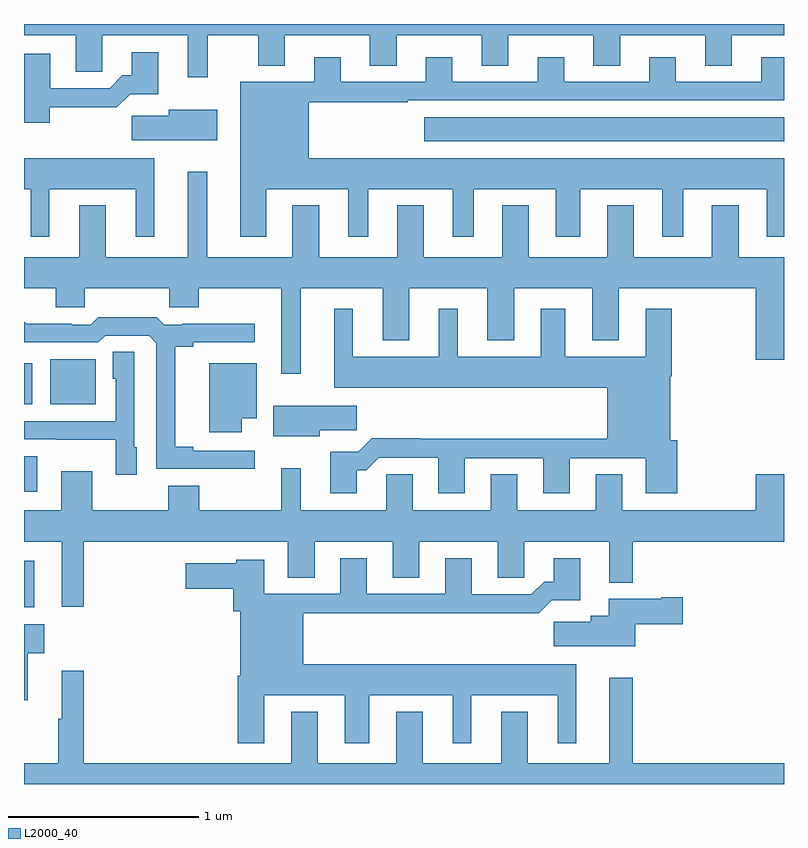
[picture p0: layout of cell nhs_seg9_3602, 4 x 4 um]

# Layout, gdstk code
import gdstk
lib = gdstk.Library(unit=1e-6, precision=1e-09)
def R(c, l, rs):  # rectangles x0, y0, x1, y1
    for r in rs: c.add(gdstk.rectangle(r[:2], r[2:], *l))
def P(c, l, *ps):  # polygons
    for p in ps: c.add(gdstk.Polygon(p, *l))
L2000_40 = (2000, 40)

nhs_seg9_3602 = lib.new_cell('nhs_seg9_3602')
R(nhs_seg9_3602, L2000_40, [(317,1173.431,317.053,1173.676), (317,1174.038,317.071,1174.224), (317,1174.499,317.044,1174.714), (317.138,1174.499,317.377,1174.735), (319.107,1175.882,321,1176.01)])
P(nhs_seg9_3602, L2000_40, [(317.968,1176.44),(318.233,1176.44),(318.233,1176.281),(318.373,1176.281),(318.373,1176.44),(318.821,1176.44),(318.821,1176.28),(318.961,1176.28),(318.961,1176.44),(319.409,1176.44),(319.409,1176.28),(319.549,1176.28),(319.549,1176.44),(319.997,1176.44),(319.997,1176.28),(320.137,1176.28),(320.137,1176.44),(320.585,1176.44),(320.585,1176.28),(320.725,1176.28),(320.725,1176.44),(321,1176.44),(321,1176.5),(317,1176.5),(317,1176.44),(317.273,1176.44),(317.273,1176.25),(317.412,1176.25),(317.412,1176.44),(317.861,1176.44),(317.861,1176.219),(317.968,1176.219)],
  [(317.136,1176.062),(317.489,1176.062),(317.558,1176.131),(317.707,1176.131),(317.707,1176.352),(317.567,1176.352),(317.567,1176.229),(317.518,1176.229),(317.451,1176.162),(317.137,1176.162),(317.137,1176.343),(317,1176.343),(317,1175.981),(317.136,1175.981)],
  [(318.274,1175.63),(318.707,1175.63),(318.707,1175.379),(318.811,1175.379),(318.811,1175.63),(319.256,1175.63),(319.256,1175.379),(319.366,1175.379),(319.366,1175.63),(319.799,1175.63),(319.799,1175.379),(319.927,1175.379),(319.927,1175.63),(320.36,1175.63),(320.36,1175.379),(320.47,1175.379),(320.47,1175.63),(320.909,1175.63),(320.909,1175.379),(321,1175.379),(321,1175.794),(318.499,1175.794),(318.499,1176.087),(319.019,1176.087),(319.019,1176.099),(321,1176.099),(321,1176.325),(320.879,1176.325),(320.879,1176.195),(320.431,1176.195),(320.431,1176.325),(320.291,1176.325),(320.291,1176.195),(319.843,1176.195),(319.843,1176.325),(319.703,1176.325),(319.703,1176.195),(319.255,1176.195),(319.255,1176.325),(319.115,1176.325),(319.115,1176.195),(318.667,1176.195),(318.667,1176.325),(318.527,1176.325),(318.527,1176.196),(318.137,1176.196),(318.137,1175.379),(318.274,1175.379)],
  [(318.016,1176.049),(317.762,1176.049),(317.762,1176.017),(317.568,1176.017),(317.568,1175.888),(318.016,1175.888)],
  [(317.134,1175.63),(317.588,1175.63),(317.588,1175.379),(317.686,1175.379),(317.686,1175.794),(317,1175.794),(317,1175.63),(317.036,1175.63),(317.036,1175.379),(317.134,1175.379)],
  [(317,1175.108),(317.168,1175.108),(317.168,1175.01),(317.319,1175.01),(317.319,1175.108),(317.764,1175.108),(317.764,1175.01),(317.919,1175.01),(317.919,1175.108),(318.353,1175.108),(318.353,1174.659),(318.457,1174.659),(318.457,1175.108),(318.887,1175.108),(318.887,1174.835),(319.027,1174.835),(319.027,1175.108),(319.439,1175.108),(319.439,1174.835),(319.579,1174.835),(319.579,1175.108),(319.991,1175.108),(319.991,1174.835),(320.131,1174.835),(320.131,1175.108),(320.852,1175.108),(320.852,1174.734),(321,1174.734),(321,1175.272),(320.761,1175.272),(320.761,1175.545),(320.621,1175.545),(320.621,1175.272),(320.209,1175.272),(320.209,1175.545),(320.069,1175.545),(320.069,1175.272),(319.657,1175.272),(319.657,1175.545),(319.517,1175.545),(319.517,1175.272),(319.105,1175.272),(319.105,1175.545),(318.965,1175.545),(318.965,1175.272),(318.553,1175.272),(318.553,1175.545),(318.413,1175.545),(318.413,1175.272),(317.965,1175.272),(317.965,1175.722),(317.861,1175.722),(317.861,1175.272),(317.431,1175.272),(317.431,1175.545),(317.291,1175.545),(317.291,1175.272),(317,1175.272)],
  [(318.751,1174.151),(318.8,1174.151),(318.867,1174.218),(319.181,1174.218),(319.181,1174.029),(319.321,1174.029),(319.321,1174.215),(319.733,1174.215),(319.733,1174.029),(319.873,1174.029),(319.873,1174.215),(320.273,1174.215),(320.273,1174.029),(320.438,1174.029),(320.438,1174.308),(320.401,1174.308),(320.401,1174.646),(320.409,1174.646),(320.409,1175.002),(320.273,1175.002),(320.273,1174.75),(319.849,1174.75),(319.849,1175.002),(319.721,1175.002),(319.721,1174.75),(319.282,1174.75),(319.282,1175.002),(319.184,1175.002),(319.184,1174.75),(318.73,1174.75),(318.73,1175.002),(318.632,1175.002),(318.632,1174.586),(320.069,1174.586),(320.069,1174.316),(319.085,1174.316),(319.085,1174.319),(318.83,1174.319),(318.76,1174.249),(318.611,1174.249),(318.611,1174.029),(318.751,1174.029)],
  [(318.214,1174.254),(317.89,1174.254),(317.89,1174.274),(317.795,1174.274),(317.795,1174.802),(317.89,1174.802),(317.89,1174.824),(318.214,1174.824),(318.214,1174.922),(317.833,1174.922),(317.833,1174.917),(317.739,1174.917),(317.699,1174.957),(317.392,1174.957),(317.352,1174.917),(317.252,1174.917),(317.252,1174.922),(317.012,1174.922),(317,1174.934),(317,1174.824),(317.391,1174.824),(317.427,1174.86),(317.658,1174.86),(317.697,1174.821),(317.697,1174.158),(318.214,1174.158)],
  [(317.593,1174.272),(317.58,1174.272),(317.58,1174.775),(317.468,1174.775),(317.468,1174.632),(317.484,1174.632),(317.484,1174.41),(317,1174.41),(317,1174.314),(317.167,1174.314),(317.167,1174.313),(317.484,1174.313),(317.484,1174.128),(317.593,1174.128)],
  [(318.145,1174.424),(318.226,1174.424),(318.226,1174.714),(317.975,1174.714),(317.975,1174.352),(318.145,1174.352)],
  [(318.556,1174.363),(318.751,1174.363),(318.751,1174.492),(318.312,1174.492),(318.312,1174.331),(318.556,1174.331)],
  [(317.315,1173.776),(318.389,1173.776),(318.389,1173.586),(318.529,1173.586),(318.529,1173.776),(318.941,1173.776),(318.941,1173.586),(319.081,1173.586),(319.081,1173.776),(319.493,1173.776),(319.493,1173.586),(319.632,1173.586),(319.632,1173.776),(320.081,1173.776),(320.081,1173.56),(320.203,1173.56),(320.203,1173.776),(321,1173.776),(321,1174.129),(320.852,1174.129),(320.852,1173.94),(320.149,1173.94),(320.149,1174.13),(320.009,1174.13),(320.009,1173.94),(319.597,1173.94),(319.597,1174.13),(319.457,1174.13),(319.457,1173.94),(319.045,1173.94),(319.045,1174.13),(318.906,1174.13),(318.906,1173.94),(318.457,1173.94),(318.457,1174.162),(318.353,1174.162),(318.353,1173.94),(317.923,1173.94),(317.923,1174.069),(317.759,1174.069),(317.759,1173.94),(317.359,1173.94),(317.359,1174.147),(317.195,1174.147),(317.195,1173.94),(317,1173.94),(317,1173.776),(317.198,1173.776),(317.198,1173.432),(317.315,1173.432)],
  [(318.265,1172.966),(318.689,1172.966),(318.689,1172.715),(318.817,1172.715),(318.817,1172.966),(319.256,1172.966),(319.256,1172.715),(319.354,1172.715),(319.354,1172.966),(319.808,1172.966),(319.808,1172.715),(319.906,1172.715),(319.906,1173.13),(318.469,1173.13),(318.469,1173.4),(319.453,1173.4),(319.453,1173.398),(319.709,1173.398),(319.778,1173.467),(319.927,1173.467),(319.927,1173.688),(319.787,1173.688),(319.787,1173.565),(319.738,1173.565),(319.671,1173.498),(319.357,1173.498),(319.357,1173.688),(319.217,1173.688),(319.217,1173.501),(318.805,1173.501),(318.805,1173.688),(318.665,1173.688),(318.665,1173.501),(318.265,1173.501),(318.265,1173.679),(318.117,1173.679),(318.117,1173.661),(317.85,1173.661),(317.85,1173.527),(318.101,1173.527),(318.101,1173.408),(318.137,1173.408),(318.137,1173.07),(318.125,1173.07),(318.125,1172.715),(318.265,1172.715)],
  [(320.218,1173.341),(320.467,1173.341),(320.467,1173.483),(320.354,1173.483),(320.354,1173.475),(320.078,1173.475),(320.078,1173.385),(319.982,1173.385),(319.982,1173.353),(319.788,1173.353),(319.788,1173.224),(320.218,1173.224)],
  [(317.021,1173.188),(317.107,1173.188),(317.107,1173.34),(317,1173.34),(317,1172.94),(317.021,1172.94)],
  [(319.511,1172.881),(319.511,1172.608),(319.099,1172.608),(319.099,1172.881),(318.959,1172.881),(318.959,1172.608),(318.547,1172.608),(318.547,1172.881),(318.407,1172.881),(318.407,1172.608),(317.315,1172.608),(317.315,1173.097),(317.198,1173.097),(317.198,1172.844),(317.179,1172.844),(317.179,1172.608),(317,1172.608),(317,1172.5),(321,1172.5),(321,1172.608),(320.203,1172.608),(320.203,1173.058),(320.081,1173.058),(320.081,1172.608),(319.651,1172.608),(319.651,1172.881)])

lib.write_gds('nhs_seg9_3602.gds')
